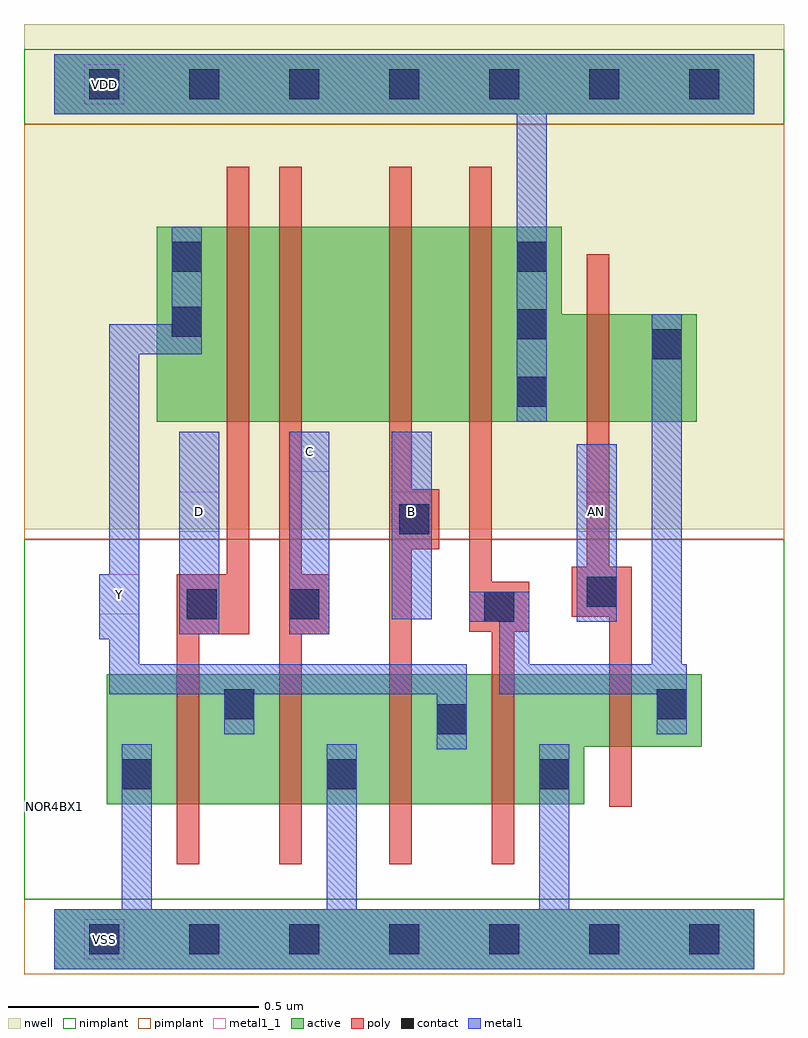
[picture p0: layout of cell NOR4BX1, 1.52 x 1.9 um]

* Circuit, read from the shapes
.subckt NOR4BX1 AN B C D VDD VSS Y
M1 Y D VSS VSS nfet w=0.26u l=0.045u
M2 VSS C Y VSS nfet w=0.26u l=0.045u
M3 Y B VSS VSS nfet w=0.26u l=0.045u
M4 VSS n1 Y VSS nfet w=0.26u l=0.045u
M5 n1 AN VSS VSS nfet w=0.145u l=0.045u
M6 n2 D Y VDD pfet w=0.39u l=0.045u
M7 n3 C n2 VDD pfet w=0.39u l=0.045u
M8 n4 B n3 VDD pfet w=0.39u l=0.045u
M9 VDD n1 n4 VDD pfet w=0.39u l=0.045u
M10 n1 AN VDD VDD pfet w=0.215u l=0.045u
.ends

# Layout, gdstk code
import gdstk
lib = gdstk.Library(unit=1e-6, precision=5e-10)
def R(c, l, rs):  # rectangles x0, y0, x1, y1
    for r in rs: c.add(gdstk.rectangle(r[:2], r[2:], *l))
def A(c, l, x, y, w, h, nx, ny, dx, dy):  # array of equal rectangles
    R(c, l, [(x+i*dx, y+j*dy, x+i*dx+w, y+j*dy+h) for i in range(nx) for j in range(ny)])
def P(c, l, *ps):  # polygons
    for p in ps: c.add(gdstk.Polygon(p, *l))
active = (1, 0)
nwell = (2, 0)
poly = (3, 0)
nimplant = (4, 0)
pimplant = (5, 0)
contact = (6, 0)
metal1 = (7, 0)
metal1_1 = (7, 1)

nor4bx1 = lib.new_cell('NOR4BX1')
R(nor4bx1, active, [(0,-0.06,1.4,0.06), (0,1.65,1.4,1.77)])
P(nor4bx1, active, [(0.205,1.425),(1.015,1.425),(1.015,1.25),(1.285,1.25),(1.285,1.035),(0.205,1.035)],
  [(0.105,0.53),(1.295,0.53),(1.295,0.385),(1.06,0.385),(1.06,0.27),(0.105,0.27)])
R(nor4bx1, nwell, [(-0.06,0.82,1.46,1.83)])
P(nor4bx1, poly, [(0.345,1.545),(0.39,1.545),(0.39,0.61),(0.29,0.61),(0.29,0.15),(0.245,0.15),(0.245,0.73),(0.345,0.73)],
  [(0.45,1.545),(0.495,1.545),(0.495,0.73),(0.55,0.73),(0.55,0.61),(0.495,0.61),(0.495,0.15),(0.45,0.15)],
  [(0.67,1.545),(0.715,1.545),(0.715,0.9),(0.77,0.9),(0.77,0.78),(0.715,0.78),(0.715,0.15),(0.67,0.15)],
  [(0.83,1.545),(0.875,1.545),(0.875,0.715),(0.95,0.715),(0.95,0.615),(0.92,0.615),(0.92,0.15),(0.875,0.15),(0.875,0.615),(0.83,0.615)],
  [(1.155,0.745),(1.11,0.745),(1.11,1.37),(1.065,1.37),(1.065,0.745),(1.035,0.745),(1.035,0.645),(1.11,0.645),(1.11,0.265),(1.155,0.265)])
R(nor4bx1, nimplant, [(-0.06,0.08,1.46,0.8), (-0.06,1.63,1.46,1.78)])
R(nor4bx1, pimplant, [(-0.06,-0.07,1.46,0.08), (-0.06,0.8,1.46,1.63)])
A(nor4bx1, contact, 0.07, -0.03, 0.06, 0.06, 7, 2, 0.2, 1.71)
A(nor4bx1, contact, 0.925, 1.065, 0.06, 0.06, 1, 3, 0, 0.135)
R(nor4bx1, contact, [(0.135,0.3,0.195,0.36), (0.545,0.3,0.605,0.36), (0.97,0.3,1.03,0.36), (0.765,0.41,0.825,0.47), (0.34,0.44,0.4,0.5), (1.205,0.44,1.265,0.5), (0.86,0.635,0.92,0.695), (0.265,0.64,0.325,0.7), (0.47,0.64,0.53,0.7), (1.065,0.665,1.125,0.725), (0.69,0.81,0.75,0.87), (1.195,1.16,1.255,1.22), (0.235,1.205,0.295,1.265), (0.235,1.335,0.295,1.395)])
R(nor4bx1, metal1, [(0.25,0.61,0.33,1.015), (0.47,0.61,0.55,1.015), (1.045,0.635,1.125,0.99), (0.675,0.64,0.755,1.015)])
P(nor4bx1, metal1, [(0,1.77),(1.4,1.77),(1.4,1.65),(0.985,1.65),(0.985,1.035),(0.925,1.035),(0.925,1.65),(0,1.65)],
  [(0.235,1.425),(0.295,1.425),(0.295,1.17),(0.17,1.17),(0.17,0.55),(0.825,0.55),(0.825,0.38),(0.765,0.38),(0.765,0.49),(0.4,0.49),(0.4,0.41),(0.34,0.41),(0.34,0.49),(0.11,0.49),(0.11,0.6),(0.09,0.6),(0.09,0.73),(0.11,0.73),(0.11,1.23),(0.235,1.23)],
  [(0.83,0.695),(0.95,0.695),(0.95,0.55),(1.195,0.55),(1.195,1.25),(1.255,1.25),(1.255,0.55),(1.265,0.55),(1.265,0.41),(1.205,0.41),(1.205,0.49),(0.89,0.49),(0.89,0.635),(0.83,0.635)],
  [(0.135,0.39),(0.195,0.39),(0.195,0.06),(0.545,0.06),(0.545,0.39),(0.605,0.39),(0.605,0.06),(0.97,0.06),(0.97,0.39),(1.03,0.39),(1.03,0.06),(1.4,0.06),(1.4,-0.06),(0,-0.06),(0,0.06),(0.135,0.06)])
R(nor4bx1, metal1_1, [(0.06,-0.04,0.14,0.04), (0.09,0.65,0.17,0.73), (0.25,0.815,0.33,0.895), (0.675,0.815,0.755,0.895), (1.045,0.815,1.125,0.895), (0.47,0.935,0.55,1.015), (0.06,1.67,0.14,1.75)])
nor4bx1.add(gdstk.Label('VSS', (0.1,0), layer=7, texttype=1))
nor4bx1.add(gdstk.Label('AN', (1.085,0.855), layer=7, texttype=1))
nor4bx1.add(gdstk.Label('Y', (0.13,0.69), layer=7, texttype=1))
nor4bx1.add(gdstk.Label('B', (0.715,0.855), layer=7, texttype=1))
nor4bx1.add(gdstk.Label('C', (0.51,0.975), layer=7, texttype=1))
nor4bx1.add(gdstk.Label('D', (0.29,0.855), layer=7, texttype=1))
nor4bx1.add(gdstk.Label('VDD', (0.1,1.71), layer=7, texttype=1))
nor4bx1.add(gdstk.Label('NOR4BX1', (0,0.265), layer=63, texttype=0))

lib.write_gds('NOR4BX1.gds')
